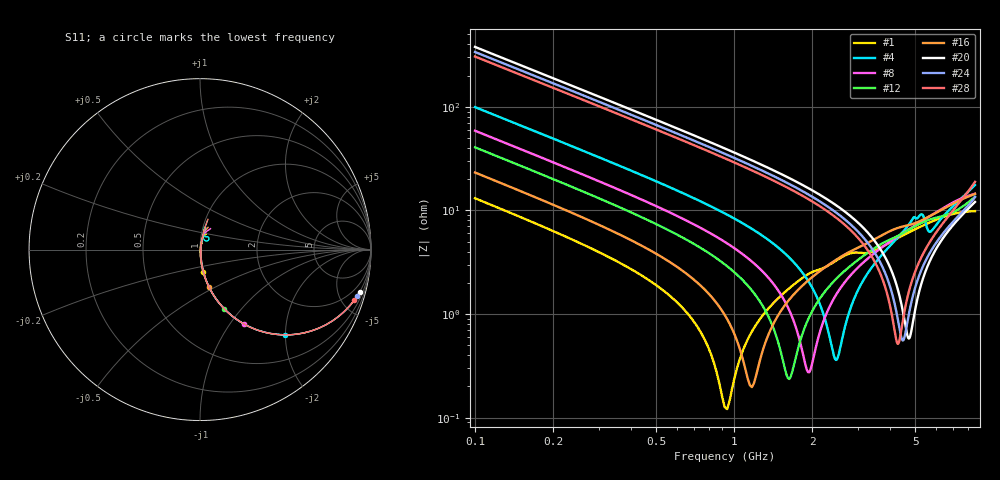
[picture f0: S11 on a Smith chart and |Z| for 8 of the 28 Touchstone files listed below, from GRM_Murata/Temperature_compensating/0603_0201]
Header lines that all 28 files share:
!These Parameters are Measured in Series Mode Connection
!Data Generated on Mar 30, 2021
!  o--ll--o
!Port1  Port2
!  o------o
!Operation Temp=25[degC], DC Bias Voltage=0[V]
!Freq. Start=100[MHz] Stop=9[GHz] 401[Steps]
# Hz S RI R 50
!Freq.(Hz) S11(Real) S11(Imag) S21(Real) S21(Imag) S12(Real) S12(Imag) S22(Real) S22(Imag)
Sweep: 100 MHz to 8.5 GHz
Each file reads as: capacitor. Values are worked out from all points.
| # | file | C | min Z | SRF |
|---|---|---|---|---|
| 1 | GRM0332C1H121JA01.s2p | 120 pF | 121 mohm | 933.6 MHz |
| 2 | GRM0332C1H130GA01.s2p | 13 pF | 366 mohm | 2.77 GHz |
| 3 | GRM0332C1H151GA01.s2p | 150 pF | 126 mohm | 819.2 MHz |
| 4 | GRM0332C1H160JA01.s2p | 16 pF | 360 mohm | 2.479 GHz |
| 5 | GRM0332C1H220GA01.s2p | 22 pF | 291 mohm | 2.179 GHz |
| 6 | GRM0332C1H221GA01.s2p | 220 pF | 115 mohm | 702.2 MHz |
| 7 | GRM0332C1H240JA01.s2p | 24 pF | 278 mohm | 2.071 GHz |
| 8 | GRM0332C1H270JA01.s2p | 27 pF | 274 mohm | 1.942 GHz |
| 9 | GRM0332C1H300GA01.s2p | 30 pF | 251 mohm | 1.839 GHz |
| 10 | GRM0332C1H330JA01.s2p | 33 pF | 238 mohm | 1.764 GHz |
| 11 | GRM0332C1H360GA01.s2p | 36 pF | 266 mohm | 1.678 GHz |
| 12 | GRM0332C1H390GA01.s2p | 39 pF | 236 mohm | 1.63 GHz |
| 13 | GRM0332C1H470GA01.s2p | 47 pF | 214 mohm | 1.497 GHz |
| 14 | GRM0332C1H510JA01.s2p | 51 pF | 200 mohm | 1.421 GHz |
| 15 | GRM0332C1H560GA01.s2p | 56 pF | 199 mohm | 1.395 GHz |
| 16 | GRM0332C1H680GA01.s2p | 68 pF | 197 mohm | 1.169 GHz |
| 17 | GRM0332C1H910JA01.s2p | 91 pF | 171 mohm | 1.045 GHz |
| 18 | GRM0332C2A4R0BA01.s2p | 4 pF | 574 mohm | 4.875 GHz |
| 19 | GRM0332C2A4R1CA01.s2p | 4.1 pF | 587 mohm | 4.785 GHz |
| 20 | GRM0332C2A4R2BA01.s2p | 4.2 pF | 580 mohm | 4.73 GHz |
| 21 | GRM0332C2A4R3WA01.s2p | 4.3 pF | 573 mohm | 4.676 GHz |
| 22 | GRM0332C2A4R4WA01.s2p | 4.4 pF | 587 mohm | 4.626 GHz |
| 23 | GRM0332C2A4R5BA01.s2p | 4.5 pF | 580 mohm | 4.575 GHz |
| 24 | GRM0332C2A4R7BA01.s2p | 4.7 pF | 556 mohm | 4.483 GHz |
| 25 | GRM0332C2A4R9BA01.s2p | 4.9 pF | 546 mohm | 4.393 GHz |
| 26 | GRM0332C2A5R0BA01.s2p | 5 pF | 527 mohm | 4.368 GHz |
| 27 | GRM0332C2A5R1CA01.s2p | 5.1 pF | 521 mohm | 4.329 GHz |
| 28 | GRM0332C2A5R2CA01.s2p | 5.2 pF | 515 mohm | 4.291 GHz |
